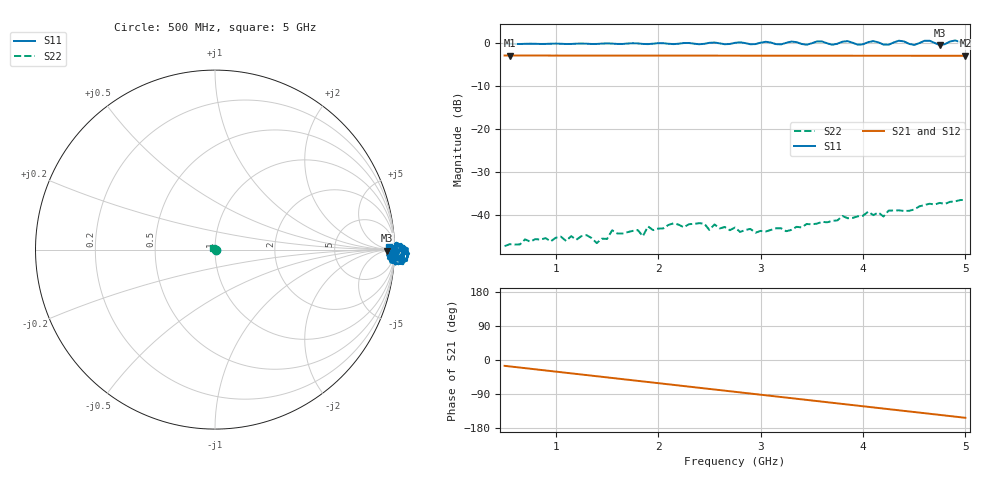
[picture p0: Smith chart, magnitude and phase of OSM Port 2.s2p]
! RsaToolbox (C) 2015 Rohde & Schwarz America
! Number of points: 91
! Number of ports: 2
! Balanced ports?: No
# Hz S RI R 50
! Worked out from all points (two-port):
!   91 points, 500 MHz to 5 GHz, reference 50 ohm
!   highest |S21| = -2.82 dB at 550 MHz (marker M1); lowest = -2.9 dB at 5 GHz (marker M2)
!   |S21| within 3 dB of the highest: start of sweep to end of sweep
!   lowest |S11| = -0.4 dB at 4.75 GHz (marker M3), VSWR 45.00, Z = 2.22e+03 - j267 ohm
!   |S11| at or under -10 dB: nowhere
!   |S22| runs from -47.3 to -36.5 dB; largest |S21 - S12| = 0
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5e8  0.9919 -0.00734  0.6966 -0.1919  0.6966 -0.1919  0.00431 0.000491
5.5e8  0.9897 -0.00161  0.6913 -0.2103  0.6913 -0.2103  0.00453 -0.000604
1.25e9  0.9967 -0.00908  0.5661 -0.4467  0.5661 -0.4467  0.00548 -0.00146
1.4e9  0.9852 -0.0156  0.5287 -0.4901  0.5287 -0.4901  0.00442 -0.00162
1.55e9  0.9947 -0.00231  0.4879 -0.5304  0.4879 -0.5304  0.00569 -0.00342
1.85e9  0.9858 -0.000569  0.3974 -0.601  0.3974 -0.601  0.00405 -0.00396
1.9e9  0.9807 -0.0144  0.3814 -0.6113  0.3814 -0.6113  0.00551 -0.0049
2e9  1.006 -0.0181  0.3479 -0.6307  0.3479 -0.6307  0.00454 -0.00526
2.75e9  1.015 -0.0378  0.0756 -0.7156  0.0756 -0.7156  0.000554 -0.00712
3.4e9  0.985 0.0218  -0.1711 -0.6981  -0.1711 -0.6981  -0.00463 -0.00548
3.5e9  1.002 -0.0639  -0.2078 -0.6879  -0.2078 -0.6879  -0.00523 -0.00578
3.65e9  1.002 0.032  -0.2618 -0.6692  -0.2618 -0.6692  -0.0064 -0.00517
3.75e9  0.9891 -0.0592  -0.2971 -0.654  -0.2971 -0.654  -0.00717 -0.00485
3.9e9  1.016 0.0361  -0.3482 -0.6281  -0.3482 -0.6281  -0.00884 -0.00277
4.1e9  1.063 -0.0177  -0.4129 -0.5873  -0.4129 -0.5873  -0.00978 -0.00195
4.25e9  0.9631 -0.0507  -0.4582 -0.5524  -0.4582 -0.5524  -0.0113 -0.000274
4.35e9  1.073 -0.0418  -0.4869 -0.5274  -0.4869 -0.5274  -0.0113 0.00052
4.5e9  0.9586 -0.0325  -0.5272 -0.4868  -0.5272 -0.4868  -0.0114 0.00207
4.65e9  1.074 0.00664  -0.5641 -0.4431  -0.5641 -0.4431  -0.013 0.00382
4.75e9  0.9565 -0.00512  -0.5869 -0.4125  -0.5869 -0.4125  -0.0125 0.00599
4.9e9  1.082 -0.0218  -0.6178 -0.3641  -0.6178 -0.3641  -0.0126 0.00704
5e9  0.9706 0.0147  -0.636 -0.3307  -0.636 -0.3307  -0.0127 0.00791
